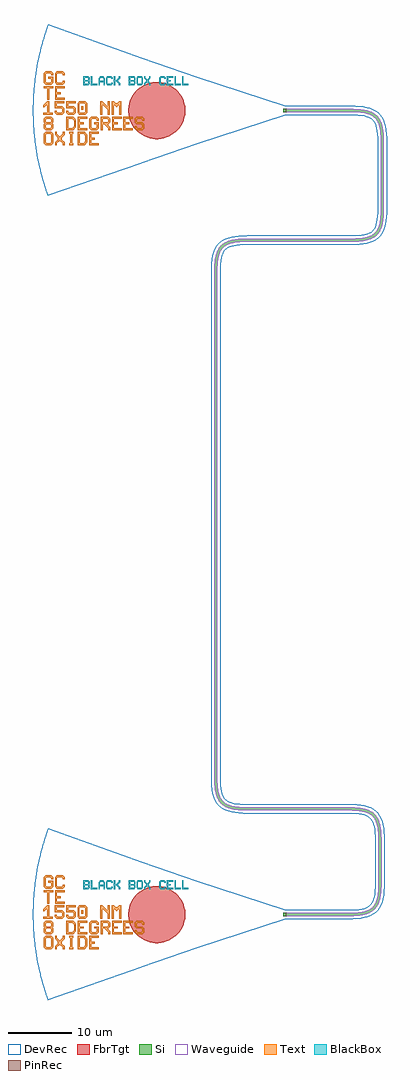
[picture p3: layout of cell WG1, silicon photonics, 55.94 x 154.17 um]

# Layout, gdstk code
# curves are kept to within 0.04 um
import gdstk
lib = gdstk.Library(unit=1e-6, precision=1e-09)
def R(c, l, rs):  # rectangles x0, y0, x1, y1
    for r in rs: c.add(gdstk.rectangle(r[:2], r[2:], *l))
def P(c, l, *ps):  # polygons
    for p in ps: c.add(gdstk.Polygon(p, *l))
Si = (1, 0)
PinRec = (1, 10)
Waveguide = (1, 99)
Text = (10, 0)
DevRec = (68, 0)
FbrTgt = (81, 0)
BlackBox = (998, 0)

text = lib.new_cell('TEXT')
P(text, BlackBox, [(0,0),(0,1.4),(0.8,1.4),(1,1.2),(0.2,1.2),(0.2,0.8),(0.7,0.8),(0.8,0.9),(0.8,1.1),(0.7,1.2),(1,1.2),(1,0.8),(0.9,0.7),(1,0.6),(0.2,0.6),(0.2,0.2),(0.7,0.2),(0.8,0.3),(0.8,0.5),(0.7,0.6),(1,0.6),(1,0.2),(0.8,0)],
  [(1.2,0),(1.2,1.4),(1.4,1.4),(1.4,0.2),(2.2,0.2),(2.2,0)],
  [(2.4,0),(2.4,1.1),(2.7,1.4),(3.1,1.4),(3.3,1.2),(2.8,1.2),(2.6,1),(2.6,0.7),(3.2,0.7),(3.2,1),(3,1.2),(3.3,1.2),(3.4,1.1),(3.4,0),(3.2,0),(3.2,0.5),(2.6,0.5),(2.6,0)],
  [(3.8,0),(3.6,0.2),(3.6,1.2),(3.8,1.4),(4.4,1.4),(4.6,1.2),(4.6,1),(4.4,1),(4.4,1.1),(4.3,1.2),(3.9,1.2),(3.8,1.1),(3.8,0.3),(3.9,0.2),(4.3,0.2),(4.4,0.3),(4.4,0.4),(4.6,0.4),(4.6,0.2),(4.4,0)],
  [(4.8,0),(4.8,1.4),(5,1.4),(5,0.8),(5.2,0.8),(5.6,1.2),(5.6,1.4),(5.8,1.4),(5.8,1.1),(5.4,0.7),(5.8,0.3),(5.8,0),(5.6,0),(5.6,0.2),(5.2,0.6),(5,0.6),(5,0)],
  [(7.2,0),(7.2,1.4),(8,1.4),(8.2,1.2),(7.4,1.2),(7.4,0.8),(7.9,0.8),(8,0.9),(8,1.1),(7.9,1.2),(8.2,1.2),(8.2,0.8),(8.1,0.7),(8.2,0.6),(7.4,0.6),(7.4,0.2),(7.9,0.2),(8,0.3),(8,0.5),(7.9,0.6),(8.2,0.6),(8.2,0.2),(8,0)],
  [(8.6,0),(8.4,0.2),(8.4,1.2),(8.6,1.4),(9.2,1.4),(9.4,1.2),(9.4,0.7),(9.2,0.7),(9.2,1.1),(9.1,1.2),(8.7,1.2),(8.6,1.1),(8.6,0.3),(8.7,0.2),(9.1,0.2),(9.2,0.3),(9.2,0.7),(9.4,0.7),(9.4,0.2),(9.2,0)],
  [(9.6,0),(9.6,0.3),(9.9,0.6),(9.9,0.8),(9.6,1.1),(9.6,1.4),(9.8,1.4),(9.8,1.2),(10.1,0.9),(10.4,1.2),(10.4,1.4),(10.6,1.4),(10.6,1.1),(10.3,0.8),(10.3,0.6),(10.6,0.3),(10.6,0),(10.4,0),(10.4,0.2),(10.1,0.5),(9.8,0.2),(9.8,0)],
  [(12.2,0),(12,0.2),(12,1.2),(12.2,1.4),(12.8,1.4),(13,1.2),(13,1),(12.8,1),(12.8,1.1),(12.7,1.2),(12.3,1.2),(12.2,1.1),(12.2,0.3),(12.3,0.2),(12.7,0.2),(12.8,0.3),(12.8,0.4),(13,0.4),(13,0.2),(12.8,0)],
  [(13.2,0),(13.2,1.4),(14.2,1.4),(14.2,1.2),(13.4,1.2),(13.4,0.8),(13.8,0.8),(13.8,0.6),(13.4,0.6),(13.4,0.2),(14.2,0.2),(14.2,0)],
  [(14.4,0),(14.4,1.4),(14.6,1.4),(14.6,0.2),(15.4,0.2),(15.4,0)],
  [(15.6,0),(15.6,1.4),(15.8,1.4),(15.8,0.2),(16.6,0.2),(16.6,0)])

gc_te_1550_8degoxide_bb = lib.new_cell('GC_TE_1550_8degOxide_BB')
R(gc_te_1550_8degoxide_bb, Si, [(-0.4,-0.25,0,0.25)])
R(gc_te_1550_8degoxide_bb, Text, [(-32.313,0.092,-32.013,0.692)])
P(gc_te_1550_8degoxide_bb, Text, [(-37.67,1.71),(-37.67,3.51),(-38.27,3.51),(-38.27,3.81),(-36.77,3.81),(-36.77,3.51),(-37.37,3.51),(-37.37,1.71)],
  [(-37.97,-5.49),(-38.27,-5.19),(-38.27,-3.69),(-37.97,-3.39),(-37.07,-3.39),(-36.77,-3.69),(-36.77,-4.44),(-37.07,-4.44),(-37.07,-3.84),(-37.22,-3.69),(-37.82,-3.69),(-37.97,-3.84),(-37.97,-5.04),(-37.82,-5.19),(-37.22,-5.19),(-37.07,-5.04),(-37.07,-4.44),(-36.77,-4.44),(-36.77,-5.19),(-37.07,-5.49)],
  [(-31.07,-5.49),(-31.07,-3.39),(-29.57,-3.39),(-29.57,-3.69),(-30.77,-3.69),(-30.77,-4.29),(-30.17,-4.29),(-30.17,-4.59),(-30.77,-4.59),(-30.77,-5.19),(-29.57,-5.19),(-29.57,-5.49)],
  [(-32.87,-3.09),(-32.87,-0.99),(-31.37,-0.99),(-31.37,-1.29),(-32.57,-1.29),(-32.57,-1.89),(-31.97,-1.89),(-31.97,-2.19),(-32.57,-2.19),(-32.57,-2.79),(-31.37,-2.79),(-31.37,-3.09)],
  [(-27.47,-3.09),(-27.47,-0.99),(-25.97,-0.99),(-25.97,-1.29),(-27.17,-1.29),(-27.17,-1.89),(-26.57,-1.89),(-26.57,-2.19),(-27.17,-2.19),(-27.17,-2.79),(-25.97,-2.79),(-25.97,-3.09)],
  [(-25.67,-3.09),(-25.67,-0.99),(-24.17,-0.99),(-24.17,-1.29),(-25.37,-1.29),(-25.37,-1.89),(-24.77,-1.89),(-24.77,-2.19),(-25.37,-2.19),(-25.37,-2.79),(-24.17,-2.79),(-24.17,-3.09)],
  [(-36.47,1.71),(-36.47,3.81),(-34.97,3.81),(-34.97,3.51),(-36.17,3.51),(-36.17,2.91),(-35.57,2.91),(-35.57,2.61),(-36.17,2.61),(-36.17,2.01),(-34.97,2.01),(-34.97,1.71)],
  [(-29.313,-0.658),(-29.313,1.442),(-29.013,1.442),(-28.263,0.692),(-28.113,0.692),(-28.113,1.442),(-27.813,1.442),(-27.813,-0.658),(-28.113,-0.658),(-28.113,0.092),(-28.863,0.842),(-29.013,0.842),(-29.013,-0.658)],
  [(-34.22,-5.49),(-34.22,-5.19),(-34.07,-5.19),(-34.07,-3.69),(-34.22,-3.69),(-34.22,-3.39),(-33.62,-3.39),(-33.62,-3.69),(-33.77,-3.69),(-33.77,-5.19),(-33.62,-5.19),(-33.62,-5.49)],
  [(-36.17,4.11),(-36.47,4.41),(-36.47,5.91),(-36.17,6.21),(-35.27,6.21),(-34.97,5.91),(-34.97,5.61),(-35.27,5.61),(-35.27,5.76),(-35.42,5.91),(-36.02,5.91),(-36.17,5.76),(-36.17,4.56),(-36.02,4.41),(-35.42,4.41),(-35.27,4.56),(-35.27,4.71),(-34.97,4.71),(-34.97,4.41),(-35.27,4.11)],
  [(-27.513,-0.658),(-27.513,1.442),(-27.213,1.442),(-26.913,1.142),(-26.613,1.142),(-26.313,1.442),(-26.013,1.442),(-26.013,-0.658),(-26.313,-0.658),(-26.313,0.842),(-26.463,0.842),(-26.763,0.542),(-27.063,0.842),(-27.213,0.842),(-27.213,-0.658)],
  [(-32.613,-0.658),(-32.913,-0.358),(-32.913,1.142),(-32.613,1.442),(-31.713,1.442),(-31.413,1.142),(-32.463,1.142),(-32.613,0.992),(-32.613,-0.208),(-32.463,-0.358),(-31.863,-0.358),(-31.713,-0.208),(-31.713,0.992),(-31.863,1.142),(-31.413,1.142),(-31.413,-0.358),(-31.713,-0.658)],
  [(-32.87,-5.49),(-32.87,-3.39),(-31.82,-3.39),(-31.52,-3.69),(-32.57,-3.69),(-32.57,-5.19),(-31.97,-5.19),(-31.67,-4.89),(-31.67,-3.99),(-31.97,-3.69),(-31.52,-3.69),(-31.37,-3.84),(-31.37,-5.04),(-31.82,-5.49)],
  [(-34.67,-3.09),(-34.67,-0.99),(-33.62,-0.99),(-33.32,-1.29),(-34.37,-1.29),(-34.37,-2.79),(-33.77,-2.79),(-33.47,-2.49),(-33.47,-1.59),(-33.77,-1.29),(-33.32,-1.29),(-33.17,-1.44),(-33.17,-2.64),(-33.62,-3.09)],
  [(-23.57,-3.09),(-23.87,-2.79),(-23.87,-2.49),(-23.57,-2.49),(-23.57,-2.64),(-23.42,-2.79),(-22.82,-2.79),(-22.67,-2.64),(-22.67,-2.34),(-22.82,-2.19),(-23.57,-2.19),(-23.87,-1.89),(-23.87,-1.29),(-23.57,-0.99),(-22.67,-0.99),(-22.37,-1.29),(-22.37,-1.59),(-22.67,-1.59),(-22.67,-1.44),(-22.82,-1.29),(-23.42,-1.29),(-23.57,-1.44),(-23.57,-1.74),(-23.42,-1.89),(-22.67,-1.89),(-22.37,-2.19),(-22.37,-2.79),(-22.67,-3.09)],
  [(-36.213,-0.658),(-36.513,-0.358),(-36.513,-0.058),(-36.213,-0.058),(-36.213,-0.208),(-36.063,-0.358),(-35.463,-0.358),(-35.313,-0.208),(-35.313,0.242),(-35.463,0.392),(-36.513,0.392),(-36.513,1.442),(-35.013,1.442),(-35.013,1.142),(-36.213,1.142),(-36.213,0.692),(-35.313,0.692),(-35.013,0.392),(-35.013,-0.358),(-35.313,-0.658)],
  [(-34.413,-0.658),(-34.713,-0.358),(-34.713,-0.058),(-34.413,-0.058),(-34.413,-0.208),(-34.263,-0.358),(-33.663,-0.358),(-33.513,-0.208),(-33.513,0.242),(-33.663,0.392),(-34.713,0.392),(-34.713,1.442),(-33.213,1.442),(-33.213,1.142),(-34.413,1.142),(-34.413,0.692),(-33.513,0.692),(-33.213,0.392),(-33.213,-0.358),(-33.513,-0.658)],
  [(-37.97,-3.09),(-38.27,-2.79),(-38.27,-2.19),(-38.12,-2.04),(-38.27,-1.89),(-38.27,-1.29),(-37.97,-0.99),(-37.07,-0.99),(-36.77,-1.29),(-37.82,-1.29),(-37.97,-1.44),(-37.97,-1.74),(-37.82,-1.89),(-37.22,-1.89),(-37.07,-1.74),(-37.07,-1.44),(-37.22,-1.29),(-36.77,-1.29),(-36.77,-1.89),(-36.92,-2.04),(-36.77,-2.19),(-37.82,-2.19),(-37.97,-2.34),(-37.97,-2.64),(-37.82,-2.79),(-37.22,-2.79),(-37.07,-2.64),(-37.07,-2.34),(-37.22,-2.19),(-36.77,-2.19),(-36.77,-2.79),(-37.07,-3.09)],
  [(-38.313,-0.658),(-38.313,-0.358),(-37.713,-0.358),(-37.713,0.842),(-37.863,0.842),(-38.163,0.542),(-38.313,0.542),(-38.313,0.842),(-37.713,1.442),(-37.413,1.442),(-37.413,-0.358),(-36.813,-0.358),(-36.813,-0.658)],
  [(-36.47,-5.49),(-36.47,-5.04),(-36.02,-4.59),(-36.02,-4.29),(-36.47,-3.84),(-36.47,-3.39),(-36.17,-3.39),(-36.17,-3.69),(-35.72,-4.14),(-35.27,-3.69),(-35.27,-3.39),(-34.97,-3.39),(-34.97,-3.84),(-35.42,-4.29),(-35.42,-4.59),(-34.97,-5.04),(-34.97,-5.49),(-35.27,-5.49),(-35.27,-5.19),(-35.72,-4.74),(-36.17,-5.19),(-36.17,-5.49)],
  [(-30.77,-3.09),(-31.07,-2.79),(-31.07,-1.29),(-30.77,-0.99),(-29.87,-0.99),(-29.57,-1.29),(-29.57,-1.59),(-29.87,-1.59),(-29.87,-1.44),(-30.02,-1.29),(-30.62,-1.29),(-30.77,-1.44),(-30.77,-2.64),(-30.62,-2.79),(-30.02,-2.79),(-29.87,-2.64),(-29.87,-2.19),(-30.32,-2.19),(-30.32,-1.89),(-29.57,-1.89),(-29.57,-2.79),(-29.87,-3.09)],
  [(-37.97,4.11),(-38.27,4.41),(-38.27,5.91),(-37.97,6.21),(-37.07,6.21),(-36.77,5.91),(-36.77,5.61),(-37.07,5.61),(-37.07,5.76),(-37.22,5.91),(-37.82,5.91),(-37.97,5.76),(-37.97,4.56),(-37.82,4.41),(-37.22,4.41),(-37.07,4.56),(-37.07,5.01),(-37.52,5.01),(-37.52,5.31),(-36.77,5.31),(-36.77,4.41),(-37.07,4.11)],
  [(-29.27,-3.09),(-29.27,-0.99),(-28.07,-0.99),(-27.77,-1.29),(-28.97,-1.29),(-28.97,-1.89),(-28.22,-1.89),(-28.07,-1.74),(-28.07,-1.44),(-28.22,-1.29),(-27.77,-1.29),(-27.77,-1.89),(-28.07,-2.19),(-28.07,-2.34),(-27.77,-2.64),(-27.77,-3.09),(-28.07,-3.09),(-28.07,-2.79),(-28.67,-2.19),(-28.97,-2.19),(-28.97,-3.09)])
P(gc_te_1550_8degoxide_bb, DevRec, [(-37.607,-13.5),(-38.627,-10.245),(-39.378,-6.832),(-39.647,-5.058),(-39.835,-3.274),(-39.969,0.224),(-39.812,3.541),(-39.331,7.097),(-38.557,10.505),(-37.546,13.669),(-22.8,8.353),(-14.109,5.36),(0,0.75),(0,-0.75),(-14.109,-5.36)])
P(gc_te_1550_8degoxide_bb, FbrTgt, [(-20.621,-4.5),(-21.495,-4.37),(-22.326,-4.073),(-23.084,-3.619),(-23.738,-3.026),(-24.264,-2.316),(-24.642,-1.518),(-24.857,-0.661),(-24.9,0.221),(-24.77,1.095),(-24.473,1.926),(-24.019,2.684),(-23.426,3.338),(-22.716,3.864),(-21.918,4.242),(-21.061,4.457),(-20.179,4.5),(-19.305,4.37),(-18.474,4.073),(-17.716,3.619),(-17.062,3.026),(-16.536,2.316),(-16.158,1.518),(-15.943,0.661),(-15.9,-0.221),(-16.03,-1.095),(-16.327,-1.926),(-16.781,-2.684),(-17.374,-3.338),(-18.084,-3.864),(-18.882,-4.242),(-19.739,-4.457)])
gc_te_1550_8degoxide_bb.add(gdstk.FlexPath([(-0.01,0),(0.01,0)], 0.5, ends="flush", simple_path=True, layer=1, datatype=10))  # PinRec
gc_te_1550_8degoxide_bb.add(gdstk.Reference(text, (-32,4)))
gc_te_1550_8degoxide_bb.add(gdstk.Label('opt1', (0,0), layer=1, texttype=10))
gc_te_1550_8degoxide_bb.add(gdstk.Label('Lumerical_INTERCONNECT_library=Design kits/ebeam', (-29,-7), layer=68, texttype=0))
gc_te_1550_8degoxide_bb.add(gdstk.Label('Component=GC_TE_1550_8degOxide_BB', (-28,-5), layer=68, texttype=0))

waveguide = lib.new_cell('Waveguide')
P(waveguide, Si, [(39.969,13.25),(39.969,13.75),(49.82,13.75),(51.206,13.804),(52.017,13.916),(52.685,14.095),(53.124,14.291),(53.567,14.604),(53.914,15.007),(54.226,15.636),(54.405,16.304),(54.532,17.294),(54.57,25.19),(54.498,26.75),(54.225,28.055),(53.785,28.858),(53.487,29.156),(53.123,29.4),(52.161,29.745),(51.205,29.887),(50.037,29.939),(33.886,29.94),(32.272,30.014),(30.992,30.268),(30.463,30.48),(30.005,30.758),(29.376,31.419),(29.116,31.893),(28.92,32.44),(28.709,33.577),(28.636,35.19),(28.636,115.02),(28.692,116.452),(28.964,117.914),(29.239,118.564),(29.535,119.004),(29.903,119.372),(30.343,119.668),(30.854,119.896),(31.594,120.095),(32.455,120.215),(33.665,120.269),(51.212,120.298),(52.235,120.408),(53.055,120.615),(53.684,120.927),(54.087,121.274),(54.453,121.82),(54.712,122.541),(54.887,123.635),(54.939,124.803),(54.922,136.33),(54.849,137.229),(54.711,137.98),(54.503,138.594),(54.22,139.083),(53.772,139.531),(53.171,139.861),(52.386,140.085),(51.396,140.212),(39.969,140.25),(39.969,140.75),(50.411,140.749),(51.621,140.695),(52.482,140.575),(53.222,140.376),(53.85,140.081),(54.272,139.767),(54.622,139.381),(54.959,138.798),(55.195,138.104),(55.321,137.464),(55.44,135.5),(55.413,123.971),(55.295,122.89),(55.113,122.127),(54.838,121.477),(54.457,120.938),(53.962,120.511),(53.223,120.145),(52.321,119.916),(51.24,119.798),(33.669,119.769),(31.842,119.633),(31.145,119.467),(30.686,119.283),(30.219,118.986),(29.921,118.688),(29.677,118.324),(29.44,117.762),(29.19,116.406),(29.136,115.02),(29.136,35.19),(29.189,33.805),(29.4,32.578),(29.792,31.697),(30.063,31.367),(30.392,31.097),(31.273,30.705),(32.5,30.494),(33.886,30.44),(50.041,30.439),(51.251,30.385),(52.269,30.233),(52.852,30.066),(53.363,29.838),(53.803,29.542),(54.171,29.174),(54.467,28.734),(54.695,28.223),(54.862,27.64),(54.996,26.804),(55.07,25.19),(55.069,18.279),(55.015,17.069),(54.863,16.051),(54.645,15.333),(54.33,14.729),(53.903,14.234),(53.364,13.853),(52.714,13.578),(51.951,13.396),(51.063,13.291)])
P(waveguide, Waveguide, [(39.969,13.25),(39.969,13.75),(49.82,13.75),(51.206,13.804),(52.017,13.916),(52.685,14.095),(53.124,14.291),(53.567,14.604),(53.914,15.007),(54.226,15.636),(54.405,16.304),(54.532,17.294),(54.57,25.19),(54.498,26.75),(54.225,28.055),(53.785,28.858),(53.487,29.156),(53.123,29.4),(52.161,29.745),(51.205,29.887),(50.037,29.939),(33.886,29.94),(32.272,30.014),(30.992,30.268),(30.463,30.48),(30.005,30.758),(29.376,31.419),(29.116,31.893),(28.92,32.44),(28.709,33.577),(28.636,35.19),(28.636,115.02),(28.692,116.452),(28.964,117.914),(29.239,118.564),(29.535,119.004),(29.903,119.372),(30.343,119.668),(30.854,119.896),(31.594,120.095),(32.455,120.215),(33.665,120.269),(51.212,120.298),(52.235,120.408),(53.055,120.615),(53.684,120.927),(54.087,121.274),(54.453,121.82),(54.712,122.541),(54.887,123.635),(54.939,124.803),(54.922,136.33),(54.849,137.229),(54.711,137.98),(54.503,138.594),(54.22,139.083),(53.772,139.531),(53.171,139.861),(52.386,140.085),(51.396,140.212),(39.969,140.25),(39.969,140.75),(50.411,140.749),(51.621,140.695),(52.482,140.575),(53.222,140.376),(53.85,140.081),(54.272,139.767),(54.622,139.381),(54.959,138.798),(55.195,138.104),(55.321,137.464),(55.44,135.5),(55.413,123.971),(55.295,122.89),(55.113,122.127),(54.838,121.477),(54.457,120.938),(53.962,120.511),(53.223,120.145),(52.321,119.916),(51.24,119.798),(33.669,119.769),(31.842,119.633),(31.145,119.467),(30.686,119.283),(30.219,118.986),(29.921,118.688),(29.677,118.324),(29.44,117.762),(29.19,116.406),(29.136,115.02),(29.136,35.19),(29.189,33.805),(29.4,32.578),(29.792,31.697),(30.063,31.367),(30.392,31.097),(31.273,30.705),(32.5,30.494),(33.886,30.44),(50.041,30.439),(51.251,30.385),(52.269,30.233),(52.852,30.066),(53.363,29.838),(53.803,29.542),(54.171,29.174),(54.467,28.734),(54.695,28.223),(54.862,27.64),(54.996,26.804),(55.07,25.19),(55.069,18.279),(55.015,17.069),(54.863,16.051),(54.645,15.333),(54.33,14.729),(53.903,14.234),(53.364,13.853),(52.714,13.578),(51.951,13.396),(51.063,13.291)])
P(waveguide, DevRec, [(39.969,12.75),(39.969,14.25),(51.051,14.293),(52.396,14.526),(52.979,14.786),(53.378,15.125),(53.675,15.605),(53.895,16.307),(54.06,17.851),(54.07,25.189),(53.972,26.935),(53.794,27.766),(53.674,28.086),(53.377,28.566),(53.195,28.748),(52.715,29.045),(52.013,29.265),(51.05,29.398),(49.82,29.44),(33.886,29.44),(31.933,29.552),(30.858,29.786),(30.376,29.968),(29.536,30.493),(28.897,31.24),(28.481,32.163),(28.247,33.238),(28.136,35.19),(28.136,115.02),(28.183,116.371),(28.346,117.53),(28.482,118.048),(28.898,118.971),(29.189,119.37),(29.936,120.009),(30.377,120.243),(31.377,120.561),(32.536,120.724),(33.886,120.77),(50.84,120.781),(51.935,120.868),(52.766,121.046),(53.349,121.306),(53.748,121.645),(54.045,122.125),(54.265,122.827),(54.43,124.371),(54.44,135.499),(54.397,136.731),(54.264,137.694),(54.044,138.396),(53.747,138.876),(53.348,139.215),(52.765,139.475),(51.42,139.708),(39.969,139.75),(39.969,141.25),(50.191,141.25),(51.54,141.204),(52.699,141.041),(53.217,140.905),(54.14,140.489),(54.539,140.198),(54.887,139.85),(55.412,139.01),(55.594,138.528),(55.828,137.453),(55.94,135.501),(55.94,125.019),(55.894,123.67),(55.731,122.511),(55.595,121.993),(55.179,121.07),(54.888,120.671),(54.54,120.323),(53.7,119.798),(52.7,119.48),(51.541,119.317),(50.19,119.27),(33.886,119.27),(32.656,119.228),(31.693,119.095),(30.728,118.735),(30.511,118.578),(30.172,118.179),(29.812,117.214),(29.679,116.251),(29.636,115.02),(29.636,35.19),(29.678,33.96),(29.911,32.615),(30.171,32.032),(30.328,31.815),(30.727,31.476),(31.692,31.116),(32.655,30.983),(49.82,30.94),(51.17,30.894),(52.329,30.731),(53.329,30.413),(53.77,30.179),(54.517,29.54),(54.808,29.141),(55.224,28.218),(55.36,27.7),(55.523,26.541),(55.57,25.191),(55.524,17.15),(55.361,15.991),(55.043,14.991),(54.518,14.151),(54.17,13.803),(53.771,13.512),(52.848,13.096),(52.33,12.96),(51.171,12.797),(49.821,12.75)])
waveguide.add(gdstk.FlexPath([(39.979,140.5),(39.959,140.5)], 0.5, ends="flush", simple_path=True, layer=1, datatype=10))  # PinRec
waveguide.add(gdstk.FlexPath([(39.979,13.5),(39.959,13.5)], 0.5, ends="flush", simple_path=True, layer=1, datatype=10))  # PinRec
waveguide.add(gdstk.Label('opt1', (39.969,140.5), layer=1, texttype=10))
waveguide.add(gdstk.Label('opt2', (39.969,13.5), layer=1, texttype=10))
waveguide.add(gdstk.Label('Lumerical_INTERCONNECT_library=Design kits/EBeam', (39.969,140.4), layer=68, texttype=0))
waveguide.add(gdstk.Label('Component=ebeam_wg_integral_1550', (39.969,140.6), layer=68, texttype=0))
waveguide.add(gdstk.Label('cellName=Waveguide', (39.969,140.7), layer=68, texttype=0))
waveguide.add(gdstk.Label('Spice_param:wg_length=0.000200000 wg_width=5e-07 points="[[39.969,140.5],[55.19,140.5],[55.19,120.02],[28.886,120.02],[28.886,30.19],[54.82,30.19],[54.82,13.5],[39.969,13.5]]" radius=5e-06', (39.969,140.5), layer=68, texttype=0))
waveguide.add(gdstk.Label('Length=200.000 (microns)', (39.969,139.9), layer=68, texttype=0))
waveguide.add(gdstk.Label('waveguide_type=Strip TE 1550 nm, w=500 nm', (39.969,140.3), layer=68, texttype=0))

wg1 = lib.new_cell('WG1')
r = gdstk.Reference(gc_te_1550_8degoxide_bb, (39.969,13.5)); r.repetition = gdstk.Repetition(1, 2, v1=(0,0), v2=(0,127)); wg1.add(r)
wg1.add(gdstk.Reference(waveguide, (0,0)))

lib.write_gds('WG1.gds')
